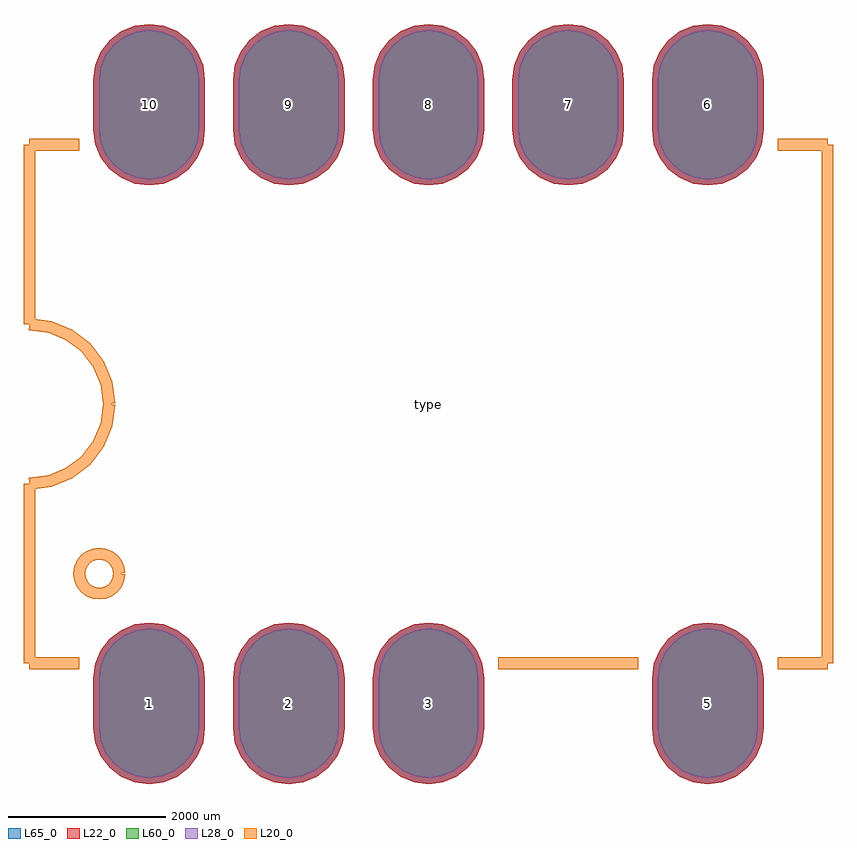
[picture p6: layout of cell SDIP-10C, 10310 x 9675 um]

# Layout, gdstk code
import gdstk
lib = gdstk.Library(unit=1e-6, precision=1e-09)
def P(c, l, *ps):  # polygons
    for p in ps: c.add(gdstk.Polygon(p, *l))
L20_0 = (20, 0)
L22_0 = (22, 0)
L28_0 = (28, 0)
L60_0 = (60, 0)
L65_0 = (65, 0)

sdip_10c = lib.new_cell('SDIP-10C')
P(sdip_10c, L22_0, [(-3556,2782.5),(-3372.238,2806.693),(-3201,2877.622),(-3053.954,2990.454),(-2941.122,3137.5),(-2870.193,3308.738),(-2846,3492.5),(-2846,4127.5),(-2870.193,4311.262),(-2941.122,4482.5),(-3053.954,4629.546),(-3201,4742.378),(-3372.238,4813.307),(-3556,4837.5),(-3739.762,4813.307),(-3911,4742.378),(-4058.046,4629.546),(-4170.878,4482.5),(-4241.807,4311.262),(-4266,4127.5),(-4266,3492.5),(-4241.807,3308.738),(-4170.878,3137.5),(-4058.046,2990.454),(-3911,2877.622),(-3739.762,2806.693)],
  [(-1778,2782.5),(-1594.238,2806.693),(-1423,2877.622),(-1275.954,2990.454),(-1163.122,3137.5),(-1092.193,3308.738),(-1068,3492.5),(-1068,4127.5),(-1092.193,4311.262),(-1163.122,4482.5),(-1275.954,4629.546),(-1423,4742.378),(-1594.238,4813.307),(-1778,4837.5),(-1961.762,4813.307),(-2133,4742.378),(-2280.046,4629.546),(-2392.878,4482.5),(-2463.807,4311.262),(-2488,4127.5),(-2488,3492.5),(-2463.807,3308.738),(-2392.878,3137.5),(-2280.046,2990.454),(-2133,2877.622),(-1961.762,2806.693)],
  [(0,2782.5),(183.762,2806.693),(355,2877.622),(502.046,2990.454),(614.878,3137.5),(685.807,3308.738),(710,3492.5),(710,4127.5),(685.807,4311.262),(614.878,4482.5),(502.046,4629.546),(355,4742.378),(183.762,4813.307),(0,4837.5),(-183.762,4813.307),(-355,4742.378),(-502.046,4629.546),(-614.878,4482.5),(-685.807,4311.262),(-710,4127.5),(-710,3492.5),(-685.807,3308.738),(-614.878,3137.5),(-502.046,2990.454),(-355,2877.622),(-183.762,2806.693)],
  [(1778,2782.5),(1961.762,2806.693),(2133,2877.622),(2280.046,2990.454),(2392.878,3137.5),(2463.807,3308.738),(2488,3492.5),(2488,4127.5),(2463.807,4311.262),(2392.878,4482.5),(2280.046,4629.546),(2133,4742.378),(1961.762,4813.307),(1778,4837.5),(1594.238,4813.307),(1423,4742.378),(1275.954,4629.546),(1163.122,4482.5),(1092.193,4311.262),(1068,4127.5),(1068,3492.5),(1092.193,3308.738),(1163.122,3137.5),(1275.954,2990.454),(1423,2877.622),(1594.238,2806.693)],
  [(3556,2782.5),(3739.762,2806.693),(3911,2877.622),(4058.046,2990.454),(4170.878,3137.5),(4241.807,3308.738),(4266,3492.5),(4266,4127.5),(4241.807,4311.262),(4170.878,4482.5),(4058.046,4629.546),(3911,4742.378),(3739.762,4813.307),(3556,4837.5),(3372.238,4813.307),(3201,4742.378),(3053.954,4629.546),(2941.122,4482.5),(2870.193,4311.262),(2846,4127.5),(2846,3492.5),(2870.193,3308.738),(2941.122,3137.5),(3053.954,2990.454),(3201,2877.622),(3372.238,2806.693)],
  [(3556,-4837.5),(3739.762,-4813.307),(3911,-4742.378),(4058.046,-4629.546),(4170.878,-4482.5),(4241.807,-4311.262),(4266,-4127.5),(4266,-3492.5),(4241.807,-3308.738),(4170.878,-3137.5),(4058.046,-2990.454),(3911,-2877.622),(3739.762,-2806.693),(3556,-2782.5),(3372.238,-2806.693),(3201,-2877.622),(3053.954,-2990.454),(2941.122,-3137.5),(2870.193,-3308.738),(2846,-3492.5),(2846,-4127.5),(2870.193,-4311.262),(2941.122,-4482.5),(3053.954,-4629.546),(3201,-4742.378),(3372.238,-4813.307)],
  [(0,-4837.5),(183.762,-4813.307),(355,-4742.378),(502.046,-4629.546),(614.878,-4482.5),(685.807,-4311.262),(710,-4127.5),(710,-3492.5),(685.807,-3308.738),(614.878,-3137.5),(502.046,-2990.454),(355,-2877.622),(183.762,-2806.693),(0,-2782.5),(-183.762,-2806.693),(-355,-2877.622),(-502.046,-2990.454),(-614.878,-3137.5),(-685.807,-3308.738),(-710,-3492.5),(-710,-4127.5),(-685.807,-4311.262),(-614.878,-4482.5),(-502.046,-4629.546),(-355,-4742.378),(-183.762,-4813.307)],
  [(-1778,-4837.5),(-1594.238,-4813.307),(-1423,-4742.378),(-1275.954,-4629.546),(-1163.122,-4482.5),(-1092.193,-4311.262),(-1068,-4127.5),(-1068,-3492.5),(-1092.193,-3308.738),(-1163.122,-3137.5),(-1275.954,-2990.454),(-1423,-2877.622),(-1594.238,-2806.693),(-1778,-2782.5),(-1961.762,-2806.693),(-2133,-2877.622),(-2280.046,-2990.454),(-2392.878,-3137.5),(-2463.807,-3308.738),(-2488,-3492.5),(-2488,-4127.5),(-2463.807,-4311.262),(-2392.878,-4482.5),(-2280.046,-4629.546),(-2133,-4742.378),(-1961.762,-4813.307)],
  [(-3556,-4837.5),(-3372.238,-4813.307),(-3201,-4742.378),(-3053.954,-4629.546),(-2941.122,-4482.5),(-2870.193,-4311.262),(-2846,-4127.5),(-2846,-3492.5),(-2870.193,-3308.738),(-2941.122,-3137.5),(-3053.954,-2990.454),(-3201,-2877.622),(-3372.238,-2806.693),(-3556,-2782.5),(-3739.762,-2806.693),(-3911,-2877.622),(-4058.046,-2990.454),(-4170.878,-3137.5),(-4241.807,-3308.738),(-4266,-3492.5),(-4266,-4127.5),(-4241.807,-4311.262),(-4170.878,-4482.5),(-4058.046,-4629.546),(-3911,-4742.378),(-3739.762,-4813.307)])
P(sdip_10c, L28_0, [(-3556,2857.5),(-3391.65,2879.137),(-3238.5,2942.574),(-3106.987,3043.487),(-3006.074,3175),(-2942.637,3328.15),(-2921,3492.5),(-2921,4127.5),(-2942.637,4291.85),(-3006.074,4445),(-3106.987,4576.513),(-3238.5,4677.426),(-3391.65,4740.863),(-3556,4762.5),(-3720.35,4740.863),(-3873.5,4677.426),(-4005.013,4576.513),(-4105.926,4445),(-4169.363,4291.85),(-4191,4127.5),(-4191,3492.5),(-4169.363,3328.15),(-4105.926,3175),(-4005.013,3043.487),(-3873.5,2942.574),(-3720.35,2879.137)],
  [(-1778,2857.5),(-1613.65,2879.137),(-1460.5,2942.574),(-1328.987,3043.487),(-1228.074,3175),(-1164.637,3328.15),(-1143,3492.5),(-1143,4127.5),(-1164.637,4291.85),(-1228.074,4445),(-1328.987,4576.513),(-1460.5,4677.426),(-1613.65,4740.863),(-1778,4762.5),(-1942.35,4740.863),(-2095.5,4677.426),(-2227.013,4576.513),(-2327.926,4445),(-2391.363,4291.85),(-2413,4127.5),(-2413,3492.5),(-2391.363,3328.15),(-2327.926,3175),(-2227.013,3043.487),(-2095.5,2942.574),(-1942.35,2879.137)],
  [(0,2857.5),(164.35,2879.137),(317.5,2942.574),(449.013,3043.487),(549.926,3175),(613.363,3328.15),(635,3492.5),(635,4127.5),(613.363,4291.85),(549.926,4445),(449.013,4576.513),(317.5,4677.426),(164.35,4740.863),(0,4762.5),(-164.35,4740.863),(-317.5,4677.426),(-449.013,4576.513),(-549.926,4445),(-613.363,4291.85),(-635,4127.5),(-635,3492.5),(-613.363,3328.15),(-549.926,3175),(-449.013,3043.487),(-317.5,2942.574),(-164.35,2879.137)],
  [(1778,2857.5),(1942.35,2879.137),(2095.5,2942.574),(2227.013,3043.487),(2327.926,3175),(2391.363,3328.15),(2413,3492.5),(2413,4127.5),(2391.363,4291.85),(2327.926,4445),(2227.013,4576.513),(2095.5,4677.426),(1942.35,4740.863),(1778,4762.5),(1613.65,4740.863),(1460.5,4677.426),(1328.987,4576.513),(1228.074,4445),(1164.637,4291.85),(1143,4127.5),(1143,3492.5),(1164.637,3328.15),(1228.074,3175),(1328.987,3043.487),(1460.5,2942.574),(1613.65,2879.137)],
  [(3556,2857.5),(3720.35,2879.137),(3873.5,2942.574),(4005.013,3043.487),(4105.926,3175),(4169.363,3328.15),(4191,3492.5),(4191,4127.5),(4169.363,4291.85),(4105.926,4445),(4005.013,4576.513),(3873.5,4677.426),(3720.35,4740.863),(3556,4762.5),(3391.65,4740.863),(3238.5,4677.426),(3106.987,4576.513),(3006.074,4445),(2942.637,4291.85),(2921,4127.5),(2921,3492.5),(2942.637,3328.15),(3006.074,3175),(3106.987,3043.487),(3238.5,2942.574),(3391.65,2879.137)],
  [(3556,-4762.5),(3720.35,-4740.863),(3873.5,-4677.426),(4005.013,-4576.513),(4105.926,-4445),(4169.363,-4291.85),(4191,-4127.5),(4191,-3492.5),(4169.363,-3328.15),(4105.926,-3175),(4005.013,-3043.487),(3873.5,-2942.574),(3720.35,-2879.137),(3556,-2857.5),(3391.65,-2879.137),(3238.5,-2942.574),(3106.987,-3043.487),(3006.074,-3175),(2942.637,-3328.15),(2921,-3492.5),(2921,-4127.5),(2942.637,-4291.85),(3006.074,-4445),(3106.987,-4576.513),(3238.5,-4677.426),(3391.65,-4740.863)],
  [(0,-4762.5),(164.35,-4740.863),(317.5,-4677.426),(449.013,-4576.513),(549.926,-4445),(613.363,-4291.85),(635,-4127.5),(635,-3492.5),(613.363,-3328.15),(549.926,-3175),(449.013,-3043.487),(317.5,-2942.574),(164.35,-2879.137),(0,-2857.5),(-164.35,-2879.137),(-317.5,-2942.574),(-449.013,-3043.487),(-549.926,-3175),(-613.363,-3328.15),(-635,-3492.5),(-635,-4127.5),(-613.363,-4291.85),(-549.926,-4445),(-449.013,-4576.513),(-317.5,-4677.426),(-164.35,-4740.863)],
  [(-1778,-4762.5),(-1613.65,-4740.863),(-1460.5,-4677.426),(-1328.987,-4576.513),(-1228.074,-4445),(-1164.637,-4291.85),(-1143,-4127.5),(-1143,-3492.5),(-1164.637,-3328.15),(-1228.074,-3175),(-1328.987,-3043.487),(-1460.5,-2942.574),(-1613.65,-2879.137),(-1778,-2857.5),(-1942.35,-2879.137),(-2095.5,-2942.574),(-2227.013,-3043.487),(-2327.926,-3175),(-2391.363,-3328.15),(-2413,-3492.5),(-2413,-4127.5),(-2391.363,-4291.85),(-2327.926,-4445),(-2227.013,-4576.513),(-2095.5,-4677.426),(-1942.35,-4740.863)],
  [(-3556,-4762.5),(-3391.65,-4740.863),(-3238.5,-4677.426),(-3106.987,-4576.513),(-3006.074,-4445),(-2942.637,-4291.85),(-2921,-4127.5),(-2921,-3492.5),(-2942.637,-3328.15),(-3006.074,-3175),(-3106.987,-3043.487),(-3238.5,-2942.574),(-3391.65,-2879.137),(-3556,-2857.5),(-3720.35,-2879.137),(-3873.5,-2942.574),(-4005.013,-3043.487),(-4105.926,-3175),(-4169.363,-3328.15),(-4191,-3492.5),(-4191,-4127.5),(-4169.363,-4291.85),(-4105.926,-4445),(-4005.013,-4576.513),(-3873.5,-4677.426),(-3720.35,-4740.863)])
P(sdip_10c, L60_0, [(-3556,2857.5),(-3391.65,2879.137),(-3238.5,2942.574),(-3106.987,3043.487),(-3006.074,3175),(-2942.637,3328.15),(-2921,3492.5),(-2921,4127.5),(-2942.637,4291.85),(-3006.074,4445),(-3106.987,4576.513),(-3238.5,4677.426),(-3391.65,4740.863),(-3556,4762.5),(-3720.35,4740.863),(-3873.5,4677.426),(-4005.013,4576.513),(-4105.926,4445),(-4169.363,4291.85),(-4191,4127.5),(-4191,3492.5),(-4169.363,3328.15),(-4105.926,3175),(-4005.013,3043.487),(-3873.5,2942.574),(-3720.35,2879.137)],
  [(-1778,2857.5),(-1613.65,2879.137),(-1460.5,2942.574),(-1328.987,3043.487),(-1228.074,3175),(-1164.637,3328.15),(-1143,3492.5),(-1143,4127.5),(-1164.637,4291.85),(-1228.074,4445),(-1328.987,4576.513),(-1460.5,4677.426),(-1613.65,4740.863),(-1778,4762.5),(-1942.35,4740.863),(-2095.5,4677.426),(-2227.013,4576.513),(-2327.926,4445),(-2391.363,4291.85),(-2413,4127.5),(-2413,3492.5),(-2391.363,3328.15),(-2327.926,3175),(-2227.013,3043.487),(-2095.5,2942.574),(-1942.35,2879.137)],
  [(0,2857.5),(164.35,2879.137),(317.5,2942.574),(449.013,3043.487),(549.926,3175),(613.363,3328.15),(635,3492.5),(635,4127.5),(613.363,4291.85),(549.926,4445),(449.013,4576.513),(317.5,4677.426),(164.35,4740.863),(0,4762.5),(-164.35,4740.863),(-317.5,4677.426),(-449.013,4576.513),(-549.926,4445),(-613.363,4291.85),(-635,4127.5),(-635,3492.5),(-613.363,3328.15),(-549.926,3175),(-449.013,3043.487),(-317.5,2942.574),(-164.35,2879.137)],
  [(1778,2857.5),(1942.35,2879.137),(2095.5,2942.574),(2227.013,3043.487),(2327.926,3175),(2391.363,3328.15),(2413,3492.5),(2413,4127.5),(2391.363,4291.85),(2327.926,4445),(2227.013,4576.513),(2095.5,4677.426),(1942.35,4740.863),(1778,4762.5),(1613.65,4740.863),(1460.5,4677.426),(1328.987,4576.513),(1228.074,4445),(1164.637,4291.85),(1143,4127.5),(1143,3492.5),(1164.637,3328.15),(1228.074,3175),(1328.987,3043.487),(1460.5,2942.574),(1613.65,2879.137)],
  [(3556,2857.5),(3720.35,2879.137),(3873.5,2942.574),(4005.013,3043.487),(4105.926,3175),(4169.363,3328.15),(4191,3492.5),(4191,4127.5),(4169.363,4291.85),(4105.926,4445),(4005.013,4576.513),(3873.5,4677.426),(3720.35,4740.863),(3556,4762.5),(3391.65,4740.863),(3238.5,4677.426),(3106.987,4576.513),(3006.074,4445),(2942.637,4291.85),(2921,4127.5),(2921,3492.5),(2942.637,3328.15),(3006.074,3175),(3106.987,3043.487),(3238.5,2942.574),(3391.65,2879.137)],
  [(3556,-4762.5),(3720.35,-4740.863),(3873.5,-4677.426),(4005.013,-4576.513),(4105.926,-4445),(4169.363,-4291.85),(4191,-4127.5),(4191,-3492.5),(4169.363,-3328.15),(4105.926,-3175),(4005.013,-3043.487),(3873.5,-2942.574),(3720.35,-2879.137),(3556,-2857.5),(3391.65,-2879.137),(3238.5,-2942.574),(3106.987,-3043.487),(3006.074,-3175),(2942.637,-3328.15),(2921,-3492.5),(2921,-4127.5),(2942.637,-4291.85),(3006.074,-4445),(3106.987,-4576.513),(3238.5,-4677.426),(3391.65,-4740.863)],
  [(0,-4762.5),(164.35,-4740.863),(317.5,-4677.426),(449.013,-4576.513),(549.926,-4445),(613.363,-4291.85),(635,-4127.5),(635,-3492.5),(613.363,-3328.15),(549.926,-3175),(449.013,-3043.487),(317.5,-2942.574),(164.35,-2879.137),(0,-2857.5),(-164.35,-2879.137),(-317.5,-2942.574),(-449.013,-3043.487),(-549.926,-3175),(-613.363,-3328.15),(-635,-3492.5),(-635,-4127.5),(-613.363,-4291.85),(-549.926,-4445),(-449.013,-4576.513),(-317.5,-4677.426),(-164.35,-4740.863)],
  [(-1778,-4762.5),(-1613.65,-4740.863),(-1460.5,-4677.426),(-1328.987,-4576.513),(-1228.074,-4445),(-1164.637,-4291.85),(-1143,-4127.5),(-1143,-3492.5),(-1164.637,-3328.15),(-1228.074,-3175),(-1328.987,-3043.487),(-1460.5,-2942.574),(-1613.65,-2879.137),(-1778,-2857.5),(-1942.35,-2879.137),(-2095.5,-2942.574),(-2227.013,-3043.487),(-2327.926,-3175),(-2391.363,-3328.15),(-2413,-3492.5),(-2413,-4127.5),(-2391.363,-4291.85),(-2327.926,-4445),(-2227.013,-4576.513),(-2095.5,-4677.426),(-1942.35,-4740.863)],
  [(-3556,-4762.5),(-3391.65,-4740.863),(-3238.5,-4677.426),(-3106.987,-4576.513),(-3006.074,-4445),(-2942.637,-4291.85),(-2921,-4127.5),(-2921,-3492.5),(-2942.637,-3328.15),(-3006.074,-3175),(-3106.987,-3043.487),(-3238.5,-2942.574),(-3391.65,-2879.137),(-3556,-2857.5),(-3720.35,-2879.137),(-3873.5,-2942.574),(-4005.013,-3043.487),(-4105.926,-3175),(-4169.363,-3328.15),(-4191,-3492.5),(-4191,-4127.5),(-4169.363,-4291.85),(-4105.926,-4445),(-4005.013,-4576.513),(-3873.5,-4677.426),(-3720.35,-4740.863)])
P(sdip_10c, L65_0, [(-3556,2782.5),(-3372.238,2806.693),(-3201,2877.622),(-3053.954,2990.454),(-2941.122,3137.5),(-2870.193,3308.738),(-2846,3492.5),(-2846,4127.5),(-2870.193,4311.262),(-2941.122,4482.5),(-3053.954,4629.546),(-3201,4742.378),(-3372.238,4813.307),(-3556,4837.5),(-3739.762,4813.307),(-3911,4742.378),(-4058.046,4629.546),(-4170.878,4482.5),(-4241.807,4311.262),(-4266,4127.5),(-4266,3492.5),(-4241.807,3308.738),(-4170.878,3137.5),(-4058.046,2990.454),(-3911,2877.622),(-3739.762,2806.693)],
  [(-1778,2782.5),(-1594.238,2806.693),(-1423,2877.622),(-1275.954,2990.454),(-1163.122,3137.5),(-1092.193,3308.738),(-1068,3492.5),(-1068,4127.5),(-1092.193,4311.262),(-1163.122,4482.5),(-1275.954,4629.546),(-1423,4742.378),(-1594.238,4813.307),(-1778,4837.5),(-1961.762,4813.307),(-2133,4742.378),(-2280.046,4629.546),(-2392.878,4482.5),(-2463.807,4311.262),(-2488,4127.5),(-2488,3492.5),(-2463.807,3308.738),(-2392.878,3137.5),(-2280.046,2990.454),(-2133,2877.622),(-1961.762,2806.693)],
  [(0,2782.5),(183.762,2806.693),(355,2877.622),(502.046,2990.454),(614.878,3137.5),(685.807,3308.738),(710,3492.5),(710,4127.5),(685.807,4311.262),(614.878,4482.5),(502.046,4629.546),(355,4742.378),(183.762,4813.307),(0,4837.5),(-183.762,4813.307),(-355,4742.378),(-502.046,4629.546),(-614.878,4482.5),(-685.807,4311.262),(-710,4127.5),(-710,3492.5),(-685.807,3308.738),(-614.878,3137.5),(-502.046,2990.454),(-355,2877.622),(-183.762,2806.693)],
  [(1778,2782.5),(1961.762,2806.693),(2133,2877.622),(2280.046,2990.454),(2392.878,3137.5),(2463.807,3308.738),(2488,3492.5),(2488,4127.5),(2463.807,4311.262),(2392.878,4482.5),(2280.046,4629.546),(2133,4742.378),(1961.762,4813.307),(1778,4837.5),(1594.238,4813.307),(1423,4742.378),(1275.954,4629.546),(1163.122,4482.5),(1092.193,4311.262),(1068,4127.5),(1068,3492.5),(1092.193,3308.738),(1163.122,3137.5),(1275.954,2990.454),(1423,2877.622),(1594.238,2806.693)],
  [(3556,2782.5),(3739.762,2806.693),(3911,2877.622),(4058.046,2990.454),(4170.878,3137.5),(4241.807,3308.738),(4266,3492.5),(4266,4127.5),(4241.807,4311.262),(4170.878,4482.5),(4058.046,4629.546),(3911,4742.378),(3739.762,4813.307),(3556,4837.5),(3372.238,4813.307),(3201,4742.378),(3053.954,4629.546),(2941.122,4482.5),(2870.193,4311.262),(2846,4127.5),(2846,3492.5),(2870.193,3308.738),(2941.122,3137.5),(3053.954,2990.454),(3201,2877.622),(3372.238,2806.693)],
  [(3556,-4837.5),(3739.762,-4813.307),(3911,-4742.378),(4058.046,-4629.546),(4170.878,-4482.5),(4241.807,-4311.262),(4266,-4127.5),(4266,-3492.5),(4241.807,-3308.738),(4170.878,-3137.5),(4058.046,-2990.454),(3911,-2877.622),(3739.762,-2806.693),(3556,-2782.5),(3372.238,-2806.693),(3201,-2877.622),(3053.954,-2990.454),(2941.122,-3137.5),(2870.193,-3308.738),(2846,-3492.5),(2846,-4127.5),(2870.193,-4311.262),(2941.122,-4482.5),(3053.954,-4629.546),(3201,-4742.378),(3372.238,-4813.307)],
  [(0,-4837.5),(183.762,-4813.307),(355,-4742.378),(502.046,-4629.546),(614.878,-4482.5),(685.807,-4311.262),(710,-4127.5),(710,-3492.5),(685.807,-3308.738),(614.878,-3137.5),(502.046,-2990.454),(355,-2877.622),(183.762,-2806.693),(0,-2782.5),(-183.762,-2806.693),(-355,-2877.622),(-502.046,-2990.454),(-614.878,-3137.5),(-685.807,-3308.738),(-710,-3492.5),(-710,-4127.5),(-685.807,-4311.262),(-614.878,-4482.5),(-502.046,-4629.546),(-355,-4742.378),(-183.762,-4813.307)],
  [(-1778,-4837.5),(-1594.238,-4813.307),(-1423,-4742.378),(-1275.954,-4629.546),(-1163.122,-4482.5),(-1092.193,-4311.262),(-1068,-4127.5),(-1068,-3492.5),(-1092.193,-3308.738),(-1163.122,-3137.5),(-1275.954,-2990.454),(-1423,-2877.622),(-1594.238,-2806.693),(-1778,-2782.5),(-1961.762,-2806.693),(-2133,-2877.622),(-2280.046,-2990.454),(-2392.878,-3137.5),(-2463.807,-3308.738),(-2488,-3492.5),(-2488,-4127.5),(-2463.807,-4311.262),(-2392.878,-4482.5),(-2280.046,-4629.546),(-2133,-4742.378),(-1961.762,-4813.307)],
  [(-3556,-4837.5),(-3372.238,-4813.307),(-3201,-4742.378),(-3053.954,-4629.546),(-2941.122,-4482.5),(-2870.193,-4311.262),(-2846,-4127.5),(-2846,-3492.5),(-2870.193,-3308.738),(-2941.122,-3137.5),(-3053.954,-2990.454),(-3201,-2877.622),(-3372.238,-2806.693),(-3556,-2782.5),(-3739.762,-2806.693),(-3911,-2877.622),(-4058.046,-2990.454),(-4170.878,-3137.5),(-4241.807,-3308.738),(-4266,-3492.5),(-4266,-4127.5),(-4241.807,-4311.262),(-4170.878,-4482.5),(-4058.046,-4629.546),(-3911,-4742.378),(-3739.762,-4813.307)])
sdip_10c.add(gdstk.FlexPath([(-5080,-3302),(-4445,-3302)], 149.998, ends="flush", simple_path=True, layer=20, datatype=0))  # L20_0
sdip_10c.add(gdstk.FlexPath([(5080,-3302),(5080,3302)], 149.998, ends="flush", simple_path=True, layer=20, datatype=0))  # L20_0
sdip_10c.add(gdstk.FlexPath([(-5080,3302),(-4445,3302)], 149.998, ends="flush", simple_path=True, layer=20, datatype=0))  # L20_0
sdip_10c.add(gdstk.FlexPath([(5080,3302),(4445,3302)], 149.998, ends="flush", simple_path=True, layer=20, datatype=0))  # L20_0
sdip_10c.add(gdstk.FlexPath([(5080,-3302),(4445,-3302)], 149.998, ends="flush", simple_path=True, layer=20, datatype=0))  # L20_0
sdip_10c.add(gdstk.FlexPath([(2667,-3302),(889,-3302)], 149.998, ends="flush", simple_path=True, layer=20, datatype=0))  # L20_0
sdip_10c.add(gdstk.FlexPath([(-3937,-2159),(-3945.655,-2093.26),(-3971.03,-2032),(-4011.395,-1979.395),(-4064,-1939.03),(-4125.26,-1913.655),(-4191,-1905),(-4256.74,-1913.655),(-4318,-1939.03),(-4370.605,-1979.395),(-4410.97,-2032),(-4436.345,-2093.26),(-4445,-2159),(-4436.345,-2224.74),(-4410.97,-2286),(-4370.605,-2338.605),(-4318,-2378.97),(-4256.74,-2404.345),(-4191,-2413),(-4125.26,-2404.345),(-4064,-2378.97),(-4011.395,-2338.605),(-3971.03,-2286),(-3945.655,-2224.74),(-3937,-2159)], 149.998, ends="flush", simple_path=True, layer=20, datatype=0))  # L20_0
sdip_10c.add(gdstk.FlexPath([(-4064,0),(-4098.619,262.96),(-4200.118,508),(-4361.58,718.42),(-4572,879.882),(-4817.04,981.381),(-5080,1016)], 149.998, ends="flush", simple_path=True, layer=20, datatype=0))  # L20_0
sdip_10c.add(gdstk.FlexPath([(-5080,-1016),(-4817.04,-981.381),(-4572,-879.882),(-4361.58,-718.42),(-4200.118,-508),(-4098.619,-262.96),(-4064,0)], 149.998, ends="flush", simple_path=True, layer=20, datatype=0))  # L20_0
sdip_10c.add(gdstk.FlexPath([(-5080,3302),(-5080,1016)], 149.998, ends="flush", simple_path=True, layer=20, datatype=0))  # L20_0
sdip_10c.add(gdstk.FlexPath([(-5080,-1016),(-5080,-3302)], 149.998, ends="flush", simple_path=True, layer=20, datatype=0))  # L20_0
sdip_10c.add(gdstk.Label('10', (-3556,3810), layer=28, texttype=0))
sdip_10c.add(gdstk.Label('9', (-1778,3810), layer=28, texttype=0))
sdip_10c.add(gdstk.Label('8', (0,3810), layer=28, texttype=0))
sdip_10c.add(gdstk.Label('7', (1778,3810), layer=28, texttype=0))
sdip_10c.add(gdstk.Label('6', (3556,3810), layer=28, texttype=0))
sdip_10c.add(gdstk.Label('5', (3556,-3810), layer=28, texttype=0))
sdip_10c.add(gdstk.Label('3', (0,-3810), layer=28, texttype=0))
sdip_10c.add(gdstk.Label('2', (-1778,-3810), layer=28, texttype=0))
sdip_10c.add(gdstk.Label('1', (-3556,-3810), layer=28, texttype=0))
sdip_10c.add(gdstk.Label('type', (0,0), layer=9, texttype=0))
sdip_10c.add(gdstk.Label('devicename', (0,0), layer=9, texttype=0))

lib.write_gds('SDIP-10C.gds')
